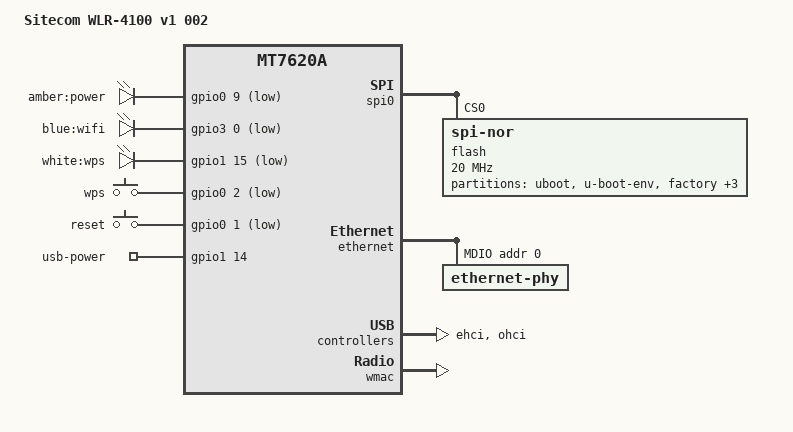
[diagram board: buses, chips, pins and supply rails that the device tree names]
// SPDX-License-Identifier: GPL-2.0-or-later OR MIT

#include "mt7620a.dtsi"

#include <dt-bindings/gpio/gpio.h>
#include <dt-bindings/input/input.h>

/ {
	compatible = "sitecom,wlr-4100-v1-002", "ralink,mt7620a-soc";
	model = "Sitecom WLR-4100 v1 002";

	chosen {
		bootargs = "console=ttyS0,115200";
	};

	aliases {
		led-boot = &led_power;
		led-failsafe = &led_power;
		led-running = &led_power;
		led-upgrade = &led_power;
	};

	leds {
		compatible = "gpio-leds";

		led_power: power {
			label = "amber:power";
			gpios = <&gpio0 9 GPIO_ACTIVE_LOW>;
			default-state = "on";
		};

		wifi {
			label = "blue:wifi";
			gpios = <&gpio3 0 GPIO_ACTIVE_LOW>;
			linux,default-trigger = "phy1tpt";
		};

		wps {
			label = "white:wps";
			gpios = <&gpio1 15 GPIO_ACTIVE_LOW>;
		};
	};

	keys {
		compatible = "gpio-keys";

		wps {
			label = "wps";
			gpios = <&gpio0 2 GPIO_ACTIVE_LOW>;
			linux,code = <KEY_WPS_BUTTON>;
		};

		reset {
			label = "reset";
			gpios = <&gpio0 1 GPIO_ACTIVE_LOW>;
			linux,code = <KEY_RESTART>;
		};
	};

	gpio_export {
		compatible = "gpio-export";
		#size-cells = <0>;

		usb-power {
			gpio-export,name = "usb-power";
			gpio-export,output = <1>;
			gpios = <&gpio1 14 GPIO_ACTIVE_HIGH>;
		};
	};
};

&gpio1 {
	status = "okay";
};

&gpio3 {
	status = "okay";
};

&spi0 {
	status = "okay";

	flash@0 {
		compatible = "jedec,spi-nor";
		reg = <0>;
		spi-max-frequency = <20000000>;

		partitions {
			compatible = "fixed-partitions";
			#address-cells = <1>;
			#size-cells = <1>;

			partition@0 {
				label = "uboot";
				reg = <0x0 0x30000>;
				read-only;
			};

			partition@30000 {
				label = "u-boot-env";
				reg = <0x30000 0x10000>;
				read-only;
			};

			factory: partition@40000 {
				label = "factory";
				reg = <0x40000 0x10000>;
				read-only;
			};

			partition@50000 {
				compatible = "denx,uimage";
				label = "firmware";
				reg = <0x50000 0x790000>;
			};

			partition@7e0000 {
				label = "backup";
				reg = <0x7e0000 0x10000>;
				read-only;
			};

			partition@7f0000 {
				label = "storage";
				reg = <0x7f0000 0x10000>;
				read-only;
			};
		};
	};
};

&ethernet {
	pinctrl-names = "default";
	pinctrl-0 = <&rgmii1_pins &mdio_pins>;

	nvmem-cells = <&macaddr_factory_4>;
	nvmem-cell-names = "mac-address";

	port@5 {
		status = "okay";

		phy-mode = "rgmii";
		mediatek,fixed-link = <1000 1 1 1>;
	};

	mdio-bus {
		status = "okay";

		ethernet-phy@0 {
			reg = <0>;
			phy-mode = "rgmii";

			qca,ar8327-initvals = <
				0x04 0x06200000  /* PORT0 PAD MODE CTRL */
				0x08 0x01000000  /* PORT5 PAD MODE CTRL  RX delay EN all ports 0, 5, 6 */
				0x7c 0x0000007e  /* PORT0_STATUS */
				0x94 0x00000000  /* PORT6_STATUS */
			>;
		};
	};
};

&gsw {
	mediatek,ephy-base = /bits/ 8 <8>;
};

&ehci {
	status = "okay";
};

&ohci {
	status = "okay";
};

&wmac {
	status = "okay";

	ralink,mtd-eeprom = <&factory 0x0>;
};

&state_default {
	gpio {
		groups = "uartf", "i2c", "wled", "spi refclk";
		function = "gpio";
	};
};

&factory {
	compatible = "nvmem-cells";
	#address-cells = <1>;
	#size-cells = <1>;

	macaddr_factory_4: macaddr@4 {
		reg = <0x4 0x6>;
	};
};
